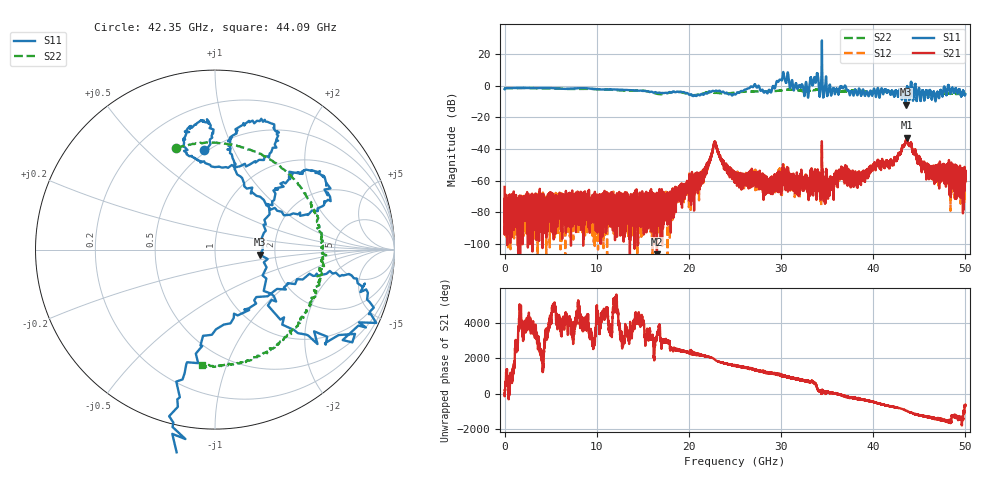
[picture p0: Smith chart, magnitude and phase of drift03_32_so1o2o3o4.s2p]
!Created with skrf (http://scikit-rf.org).
# Hz S RI R 50.0
!freq ReS11 ImS11 ReS21 ImS21 ReS12 ImS12 ReS22 ImS22
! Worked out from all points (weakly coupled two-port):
!   10000 points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, 5.3 MHz to 50 GHz, reference 50 ohm
!   highest |S21| = -32.86 dB at 43.66 GHz (marker M1); lowest = -110.2 dB at 16.53 GHz (marker M2)
!   lowest |S11| = -11.9 dB at 43.53 GHz (marker M3), VSWR 1.68, Z = 83.3 - j5.14 ohm
!   |S11| at or under -10 dB: 43.48974 GHz to 43.5528 GHz (63.05 MHz wide, 0.145 % of centre)
!   |S22| runs from -5.9 to -1.3 dB; largest |S21 - S12| = 0.012
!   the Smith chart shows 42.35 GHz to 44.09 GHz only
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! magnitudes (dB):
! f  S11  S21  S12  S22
! 5.3 MHz  -2.1  -63.9  -72.3  -2.1
! 390.3 MHz  -1.4  -76.4  -103.6  -1.5
! 8.34 GHz  -1.5  -73.7  -75.4  -1.9
! 16.53 GHz  -4.4  -110.2  -74.0  -5.0
! 16.67 GHz  -4.4  -69.7  -71.9  -5.2
! 21.35 GHz  -5.2  -58.2  -56.5  -5.1
! 22.81 GHz  -3.5  -35.4  -35.6  -4.5
! 25.01 GHz  -5.5  -59.5  -55.0  -4.2
! 27.02 GHz  -0.4  -57.6  -55.7  -3.5
! 28.82 GHz  -3.3  -60.6  -64.0  -3.5
! 30.14 GHz  4.4  -56.5  -57.2  -2.8
! 32.74 GHz  2.0  -61.2  -59.2  -3.3
! 33.34 GHz  2.5  -59.2  -58.0  -2.9
! 33.82 GHz  4.0  -61.3  -62.6  -2.5
! 34.92 GHz  2.7  -59.3  -55.7  -2.4
! 36.51 GHz  -0.4  -55.2  -54.1  -3.7
! 38.47 GHz  -1.7  -55.0  -55.1  -3.1
! 41.67 GHz  -2.9  -49.8  -50.4  -3.8
! 43.53 GHz  -11.9  -35.2  -35.5  -4.2
! 43.66 GHz  -0.8  -32.9  -33.6  -4.0
! 46.22 GHz  -3.8  -53.2  -54.7  -5.5
! 50 GHz  -5.3  -53.8  -57.3  -5.0
